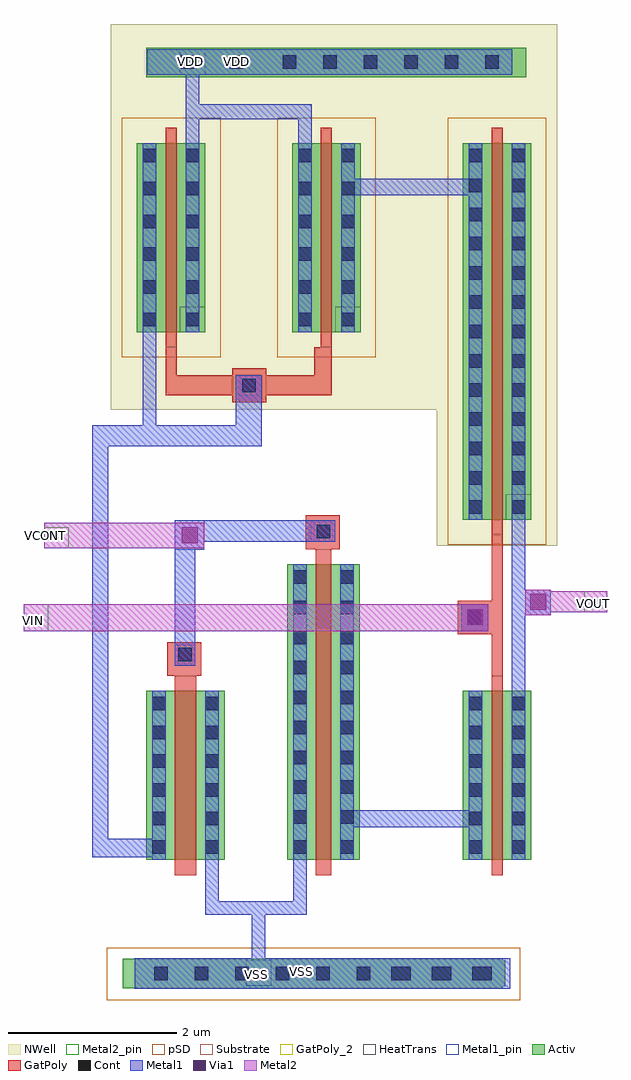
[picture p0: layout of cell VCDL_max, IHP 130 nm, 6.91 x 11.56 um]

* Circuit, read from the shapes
.subckt VCDL_max VCONT VDD VIN VOUT VSS
XM1 VSS VCONT n1 VSS sg13_lv_nmos w=2u l=0.25u
XM2 n2 VCONT VSS VSS sg13_lv_nmos w=3.5u l=0.18u
XM3 VOUT VIN n2 VSS sg13_lv_nmos w=2u l=0.13u
XM4 VDD n1 n1 VDD sg13_lv_pmos w=2.24u l=0.13u
XM5 n3 n1 VDD VDD sg13_lv_pmos w=2.24u l=0.13u
XM6 VOUT VIN n3 VDD sg13_lv_pmos w=4.46u l=0.13u
.ends

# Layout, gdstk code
import gdstk
lib = gdstk.Library(unit=1e-6, precision=1e-09)
def R(c, l, rs):  # rectangles x0, y0, x1, y1
    for r in rs: c.add(gdstk.rectangle(r[:2], r[2:], *l))
def A(c, l, x, y, w, h, nx, ny, dx, dy):  # array of equal rectangles
    R(c, l, [(x+i*dx, y+j*dy, x+i*dx+w, y+j*dy+h) for i in range(nx) for j in range(ny)])
Activ = (1, 0)
GatPoly = (5, 0)
GatPoly_2 = (5, 2)
Cont = (6, 0)
Metal1 = (8, 0)
Metal1_pin = (8, 2)
Metal2 = (10, 0)
Metal2_pin = (10, 2)
pSD = (14, 0)
Via1 = (19, 0)
NWell = (31, 0)
Substrate = (40, 0)
HeatTrans = (51, 0)

nmos = lib.new_cell('nmos')
R(nmos, Activ, [(0,0,0.3,0.3), (0,0,0.81,2), (0.51,0,0.81,0.3)])
R(nmos, GatPoly, [(0.34,-0.18,0.47,2.18)])
R(nmos, GatPoly_2, [(0.34,-0.18,0.47,2.18)])
A(nmos, Cont, 0.07, 0.07, 0.16, 0.16, 1, 6, 0, 0.34)
A(nmos, Cont, 0.58, 0.07, 0.16, 0.16, 1, 6, 0, 0.34)
R(nmos, Metal1, [(0.07,0,0.23,2), (0.58,0,0.74,2)])
R(nmos, Metal1_pin, [(0.07,0,0.23,2), (0.58,0,0.74,2)])
R(nmos, HeatTrans, [(0.34,-0.18,0.47,2.18)])
nmos.add(gdstk.Label('nmos', (0.405,1), layer=63, texttype=0))
nmos.add(gdstk.Label('nmos', (0.405,1), layer=51, texttype=0))

nmos_1 = lib.new_cell('nmos$1')
R(nmos_1, Activ, [(0,0,0.3,0.3), (0,0,0.86,3.5), (0.56,0,0.86,0.3)])
R(nmos_1, GatPoly, [(0.34,-0.18,0.52,3.68)])
R(nmos_1, GatPoly_2, [(0.34,-0.18,0.52,3.68)])
A(nmos_1, Cont, 0.07, 0.07, 0.16, 0.16, 1, 9, 0, 0.355)
A(nmos_1, Cont, 0.63, 0.07, 0.16, 0.16, 1, 9, 0, 0.355)
R(nmos_1, Cont, [(0.07,3.27,0.23,3.43), (0.63,3.27,0.79,3.43)])
R(nmos_1, Metal1, [(0.07,0,0.23,3.5), (0.63,0,0.79,3.5)])
R(nmos_1, Metal1_pin, [(0.07,0,0.23,3.5), (0.63,0,0.79,3.5)])
R(nmos_1, HeatTrans, [(0.34,-0.18,0.52,3.68)])
nmos_1.add(gdstk.Label('nmos', (0.43,1.75), layer=63, texttype=0))
nmos_1.add(gdstk.Label('nmos', (0.43,1.75), layer=51, texttype=0))

nmos_2 = lib.new_cell('nmos$2')
R(nmos_2, Activ, [(0,0,0.3,0.3), (0,0,0.93,2), (0.63,0,0.93,0.3)])
R(nmos_2, GatPoly, [(0.34,-0.18,0.59,2.18)])
R(nmos_2, GatPoly_2, [(0.34,-0.18,0.59,2.18)])
A(nmos_2, Cont, 0.07, 0.07, 0.16, 0.16, 1, 6, 0, 0.34)
A(nmos_2, Cont, 0.7, 0.07, 0.16, 0.16, 1, 6, 0, 0.34)
R(nmos_2, Metal1, [(0.07,0,0.23,2), (0.7,0,0.86,2)])
R(nmos_2, Metal1_pin, [(0.07,0,0.23,2), (0.7,0,0.86,2)])
R(nmos_2, HeatTrans, [(0.34,-0.18,0.59,2.18)])
nmos_2.add(gdstk.Label('nmos', (0.465,1), layer=63, texttype=0))
nmos_2.add(gdstk.Label('nmos', (0.465,1), layer=51, texttype=0))

pmos = lib.new_cell('pmos')
R(pmos, Activ, [(0,0,0.3,0.3), (0,0,0.81,4.46), (0.51,0,0.81,0.3)])
R(pmos, GatPoly, [(0.34,-0.18,0.47,4.64), (0.34,-0.18,0.47,4.64)])
A(pmos, Cont, 0.07, 0.07, 0.16, 0.16, 1, 3, 0, 0.345)
A(pmos, Cont, 0.58, 0.07, 0.16, 0.16, 1, 3, 0, 0.345)
A(pmos, Cont, 0.07, 1.11, 0.16, 0.16, 1, 3, 0, 0.345)
A(pmos, Cont, 0.58, 1.11, 0.16, 0.16, 1, 3, 0, 0.345)
A(pmos, Cont, 0.07, 2.15, 0.16, 0.16, 1, 3, 0, 0.345)
A(pmos, Cont, 0.58, 2.15, 0.16, 0.16, 1, 3, 0, 0.345)
A(pmos, Cont, 0.07, 3.19, 0.16, 0.16, 1, 3, 0, 0.345)
A(pmos, Cont, 0.58, 3.19, 0.16, 0.16, 1, 3, 0, 0.345)
R(pmos, Cont, [(0.07,4.23,0.23,4.39), (0.58,4.23,0.74,4.39)])
R(pmos, Metal1, [(0.07,0,0.23,4.46), (0.07,0,0.23,4.46), (0.58,0,0.74,4.46), (0.58,0,0.74,4.46)])
R(pmos, pSD, [(-0.18,-0.3,0.99,4.76)])
R(pmos, NWell, [(-0.31,-0.31,1.12,4.77)])
R(pmos, Substrate, [(0.51,0,0.81,0.3)])
R(pmos, HeatTrans, [(0.34,-0.18,0.47,4.64)])
pmos.add(gdstk.Label('pmos', (0.405,2.23), layer=63, texttype=0))
pmos.add(gdstk.Label('pmos', (0.405,2.23), layer=51, texttype=0))

pmos_1 = lib.new_cell('pmos$1')
R(pmos_1, Activ, [(0,0,0.3,0.3), (0,0,0.81,2.24), (0.51,0,0.81,0.3)])
R(pmos_1, GatPoly, [(0.34,-0.18,0.47,2.42), (0.34,-0.18,0.47,2.42)])
A(pmos_1, Cont, 0.07, 1.23, 0.16, 0.16, 1, 3, 0, 0.39)
A(pmos_1, Cont, 0.58, 1.23, 0.16, 0.16, 1, 3, 0, 0.39)
R(pmos_1, Cont, [(0.07,0.07,0.23,0.23), (0.58,0.07,0.74,0.23), (0.07,0.455,0.23,0.615), (0.58,0.455,0.74,0.615), (0.07,0.845,0.23,1.005), (0.58,0.845,0.74,1.005)])
R(pmos_1, Metal1, [(0.07,0,0.23,2.24), (0.07,0,0.23,2.24), (0.58,0,0.74,2.24), (0.58,0,0.74,2.24)])
R(pmos_1, pSD, [(-0.18,-0.3,0.99,2.54)])
R(pmos_1, NWell, [(-0.31,-0.31,1.12,2.55)])
R(pmos_1, Substrate, [(0.51,0,0.81,0.3)])
R(pmos_1, HeatTrans, [(0.34,-0.18,0.47,2.42)])
pmos_1.add(gdstk.Label('pmos', (0.405,1.12), layer=63, texttype=0))
pmos_1.add(gdstk.Label('pmos', (0.405,1.12), layer=51, texttype=0))

vcdl = lib.new_cell('VCDL')
vcdl.add(gdstk.Reference(nmos, (3.22,-8.8)))
vcdl.add(gdstk.Reference(nmos_1, (1.14,-8.8)))
vcdl.add(gdstk.Reference(nmos_2, (-0.53,-8.8)))
vcdl.add(gdstk.Reference(pmos, (3.22,-4.77)))
vcdl.add(gdstk.Reference(pmos_1, (-0.64,-2.55)))
vcdl.add(gdstk.Reference(pmos_1, (1.2,-2.55)))

vcdl_max = lib.new_cell('VCDL_max')
R(vcdl_max, Activ, [(-0.81,-10.32,3.69,-9.97), (-0.595,-10.295,0.845,-9.995), (-0.595,-10.295,0.845,-9.995), (0.845,-10.295,2.285,-9.995), (0.845,-10.295,2.285,-9.995), (2.285,-10.295,3.725,-9.995), (2.285,-10.295,3.725,-9.995), (-0.53,0.47,3.97,0.82), (-0.51,0.498,3.805,0.798)])
R(vcdl_max, GatPoly, [(-0.28,-6.62,0.12,-6.22), (3.56,-6.62,3.69,-4.95), (3.16,-6.13,3.56,-5.73), (1.36,-5.12,1.76,-4.72), (0.49,-3.38,0.89,-2.98), (-0.3,-3.3,-0.17,-2.73), (-0.17,-3.3,1.46,-3.06), (1.46,-3.3,1.67,-2.73)])
R(vcdl_max, GatPoly_2, [(0.49,-3.38,0.89,-2.98)])
R(vcdl_max, Cont, [(-0.435,-10.225,-0.275,-10.065), (-0.435,-10.225,-0.275,-10.065), (-0.435,-10.225,-0.275,-10.065), (-0.435,-10.225,-0.275,-10.065), (0.045,-10.225,0.205,-10.065), (0.045,-10.225,0.205,-10.065), (0.045,-10.225,0.205,-10.065), (0.045,-10.225,0.205,-10.065), (0.525,-10.225,0.685,-10.065), (0.525,-10.225,0.685,-10.065), (0.525,-10.225,0.685,-10.065), (0.525,-10.225,0.685,-10.065), (1.005,-10.225,1.165,-10.065), (1.005,-10.225,1.165,-10.065), (1.005,-10.225,1.165,-10.065), (1.005,-10.225,1.165,-10.065), (1.485,-10.225,1.645,-10.065), (1.485,-10.225,1.645,-10.065), (1.485,-10.225,1.645,-10.065), (1.485,-10.225,1.645,-10.065), (1.965,-10.225,2.125,-10.065), (1.965,-10.225,2.125,-10.065), (1.965,-10.225,2.125,-10.065), (1.965,-10.225,2.125,-10.065), (2.372,-10.225,2.532,-10.065), (2.372,-10.225,2.532,-10.065), (2.372,-10.225,2.532,-10.065), (2.372,-10.225,2.532,-10.065), (2.445,-10.225,2.605,-10.065), (2.445,-10.225,2.605,-10.065), (2.445,-10.225,2.605,-10.065), (2.445,-10.225,2.605,-10.065), (2.852,-10.225,3.012,-10.065), (2.852,-10.225,3.012,-10.065), (2.852,-10.225,3.012,-10.065), (2.852,-10.225,3.012,-10.065), (2.925,-10.225,3.085,-10.065), (2.925,-10.225,3.085,-10.065), (2.925,-10.225,3.085,-10.065), (2.925,-10.225,3.085,-10.065), (3.332,-10.225,3.492,-10.065), (3.332,-10.225,3.492,-10.065), (3.332,-10.225,3.492,-10.065), (3.332,-10.225,3.492,-10.065), (3.405,-10.225,3.565,-10.065), (3.405,-10.225,3.565,-10.065), (3.405,-10.225,3.565,-10.065), (3.405,-10.225,3.565,-10.065), (-0.15,-6.45,0.01,-6.29), (3.28,-6.01,3.44,-5.85), (1.49,-4.99,1.65,-4.83), (0.61,-3.26,0.77,-3.1), (-0.12,0.57,0.04,0.73), (0.458,0.57,0.618,0.73), (0.458,0.57,0.618,0.73), (1.085,0.57,1.245,0.73), (1.565,0.57,1.725,0.73), (1.565,0.57,1.725,0.73), (2.045,0.57,2.205,0.73), (2.045,0.57,2.205,0.73), (2.525,0.57,2.685,0.73), (2.525,0.57,2.685,0.73), (3.005,0.57,3.165,0.73), (3.005,0.57,3.165,0.73), (3.485,0.57,3.645,0.73), (3.485,0.57,3.645,0.73)])
R(vcdl_max, Metal1, [(-0.665,-10.325,3.78,-9.965), (-0.665,-10.325,3.78,-9.965), (0.65,-10.29,0.95,-9.99), (0.72,-9.99,0.88,-9.45), (0.17,-9.45,0.33,-8.8), (0.33,-9.45,1.37,-9.29), (1.21,-9.29,1.37,-8.8), (-1.17,-8.77,-0.98,-3.9), (-0.98,-8.77,-0.46,-8.55), (1.93,-8.415,3.29,-8.215), (3.8,-6.8,3.96,-4.77), (-0.19,-6.5,0.05,-5.13), (3.2,-6.09,3.52,-5.77), (3.96,-5.9,4.26,-5.6), (-0.19,-5.13,0.16,-4.78), (0.16,-5.03,1.71,-4.78), (-1.17,-3.9,-0.57,-3.65), (-0.57,-3.9,0.53,-3.65), (0.53,-3.9,0.84,-3.06), (-0.57,-3.65,-0.41,-2.55), (1.94,-0.93,3.29,-0.73), (-0.06,-0.31,0.1,0.5), (1.27,-0.31,1.43,0.15), (0.1,-0.03,1.27,0.15), (-0.516,0.5,3.807,0.8), (-0.13,0.5,0.17,0.8)])
R(vcdl_max, Metal1_pin, [(0.65,-10.29,0.95,-9.99), (0.65,-10.29,0.95,-9.99), (1.25,-10.19,1.38,-10.06), (-0.19,-6.5,0.05,-6.25), (3.2,-6.09,3.52,-5.77), (3.96,-5.9,4.26,-5.6), (-0.19,-5.13,0.16,-4.78), (1.42,-5.03,1.71,-4.78), (0.53,-3.3,0.84,-3.06), (-0.13,0.5,0.17,0.8), (0.47,0.588,0.6,0.718)])
R(vcdl_max, Metal2, [(-1.98,-6.09,3.52,-5.77), (3.96,-5.9,4.26,-5.6), (4.26,-5.87,4.93,-5.62), (-1.74,-5.11,0.16,-4.81)])
R(vcdl_max, Metal2_pin, [(-1.98,-6.09,-1.69,-5.77), (3.2,-6.09,3.52,-5.77), (3.96,-5.9,4.26,-5.6), (4.66,-5.87,4.93,-5.62), (-1.74,-5.11,-1.45,-4.86)])
R(vcdl_max, pSD, [(-1,-10.46,3.9,-9.84), (-0.665,-10.325,0.915,-9.965), (0.775,-10.325,3.78,-9.965)])
R(vcdl_max, Via1, [(3.27,-6.02,3.46,-5.83), (4.02,-5.84,4.21,-5.65), (-0.11,-5.05,0.08,-4.86)])
R(vcdl_max, NWell, [(-0.95,-3.47,2.91,-2.86), (-0.95,-2.86,4.34,1.1), (-0.95,-2.86,4.34,1.1), (0.48,-2.86,2.91,0), (-0.95,0,4.34,1.1), (-0.739,0.233,4.141,1.025)])
vcdl_max.add(gdstk.Reference(vcdl, (0,0)))
vcdl_max.add(gdstk.Label('VDD', (0,0.65), layer=8, texttype=2))
vcdl_max.add(gdstk.Label('VSS', (0.78,-10.16), layer=8, texttype=2))
vcdl_max.add(gdstk.Label('VOUT', (4.77,-5.76), layer=10, texttype=2))
vcdl_max.add(gdstk.Label('VIN', (-1.87,-5.96), layer=10, texttype=2))
vcdl_max.add(gdstk.Label('VCONT', (-1.72,-4.96), layer=10, texttype=2))
vcdl_max.add(gdstk.Label('VSS', (1.315,-10.125), layer=8, texttype=25))
vcdl_max.add(gdstk.Label('VSS', (1.315,-10.125), layer=8, texttype=25))
vcdl_max.add(gdstk.Label('VDD', (0.535,0.655), layer=8, texttype=25))

lib.write_gds('VCDL_max.gds')
